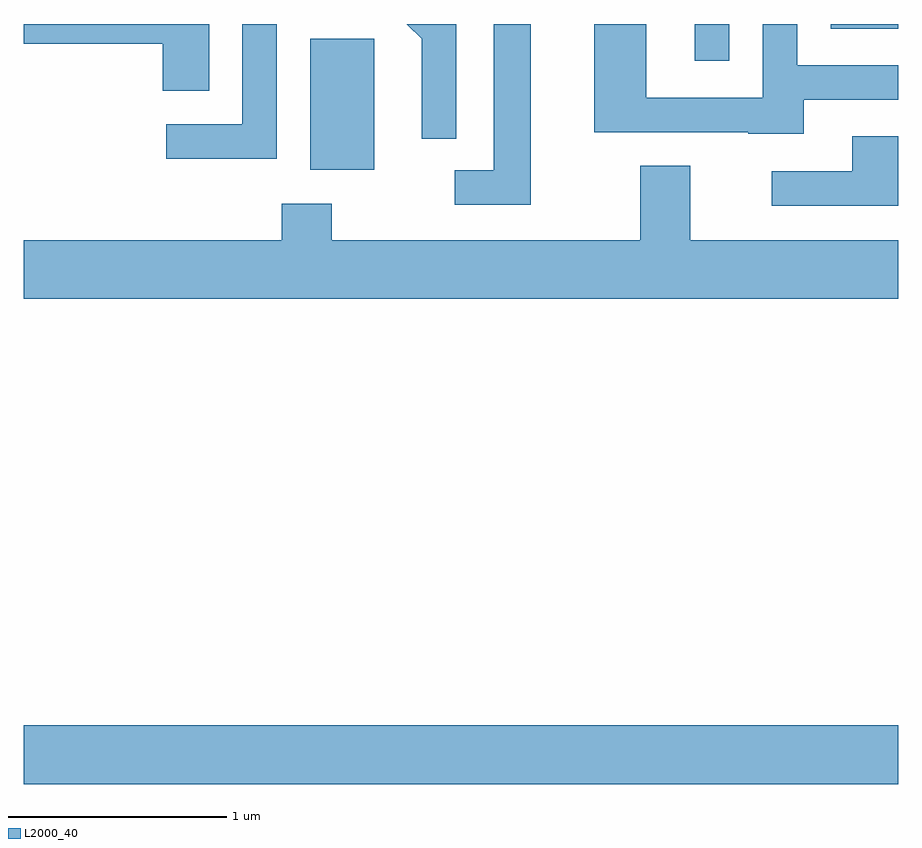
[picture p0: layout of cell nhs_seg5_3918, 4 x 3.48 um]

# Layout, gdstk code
import gdstk
lib = gdstk.Library(unit=1e-6, precision=1e-09)
def R(c, l, rs):  # rectangles x0, y0, x1, y1
    for r in rs: c.add(gdstk.rectangle(r[:2], r[2:], *l))
def P(c, l, *ps):  # polygons
    for p in ps: c.add(gdstk.Polygon(p, *l))
L2000_40 = (2000, 40)

nhs_seg5_3918 = lib.new_cell('nhs_seg5_3918')
R(nhs_seg5_3918, L2000_40, [(301.611,1434.596,305.611,1434.864), (302.921,1437.406,303.214,1438.004), (304.681,1437.903,304.839,1438.072), (305.301,1438.051,305.611,1438.072)])
P(nhs_seg5_3918, L2000_40, [(305.179,1437.726),(305.611,1437.726),(305.611,1437.884),(305.149,1437.884),(305.149,1438.072),(304.991,1438.072),(304.991,1437.734),(304.459,1437.734),(304.459,1438.072),(304.221,1438.072),(304.221,1437.576),(304.925,1437.576),(304.925,1437.571),(305.179,1437.571)],
  [(302.459,1438.072),(301.611,1438.072),(301.611,1437.981),(302.246,1437.981),(302.246,1437.766),(302.459,1437.766)],
  [(302.769,1438.072),(302.611,1438.072),(302.611,1437.614),(302.263,1437.614),(302.263,1437.456),(302.769,1437.456)],
  [(303.589,1438.072),(303.363,1438.072),(303.431,1438.004),(303.431,1437.548),(303.589,1437.548)],
  [(303.929,1438.072),(303.761,1438.072),(303.761,1437.404),(303.583,1437.404),(303.583,1437.246),(303.929,1437.246)],
  [(305.611,1437.559),(305.401,1437.559),(305.401,1437.399),(305.033,1437.399),(305.033,1437.241),(305.611,1437.241)],
  [(305.611,1437.084),(304.659,1437.084),(304.659,1437.424),(304.431,1437.424),(304.431,1437.084),(303.019,1437.084),(303.019,1437.249),(302.791,1437.249),(302.791,1437.084),(301.611,1437.084),(301.611,1436.816),(305.611,1436.816)])

lib.write_gds('nhs_seg5_3918.gds')
